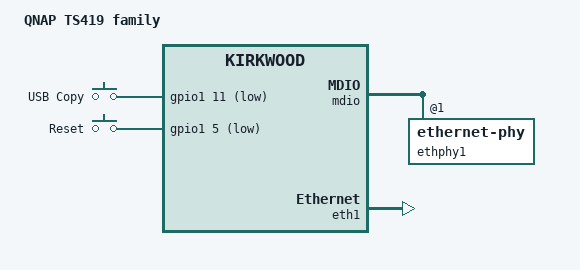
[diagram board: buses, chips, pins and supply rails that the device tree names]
/*
 * Device Tree include file for QNAP TS41X
 *
 * Copyright (C) 2013, Andrew Lunn <andrew@lunn.ch>
 *
 * This program is free software; you can redistribute it and/or
 * modify it under the terms of the GNU General Public License
 * as published by the Free Software Foundation; either version
 * 2 of the License, or (at your option) any later version.
 */

/ {
	model = "QNAP TS419 family";
	compatible = "qnap,ts419", "marvell,kirkwood";

	ocp@f1000000 {
		pinctrl: pinctrl@10000 {
			pinctrl-names = "default";

			pmx_USB_copy_button: pmx-USB-copy-button {
				marvell,pins = "mpp43";
				marvell,function = "gpio";
			};
			pmx_reset_button: pmx-reset-button {
				marvell,pins = "mpp37";
				marvell,function = "gpio";
			};
			/*
			 * JP1 indicates if an LCD module is installed
			 * on the serial port (0), or if the port is used
			 * as a console (1).
			 */
			pmx_jumper_jp1: pmx-jumper_jp1 {
				marvell,pins = "mpp45";
				marvell,function = "gpio";
			};

		};
	};

	gpio_keys {
		compatible = "gpio-keys";
		#address-cells = <1>;
		#size-cells = <0>;
		pinctrl-0 = <&pmx_reset_button &pmx_USB_copy_button>;
		pinctrl-names = "default";

		button@1 {
			label = "USB Copy";
			linux,code = <KEY_COPY>;
			gpios = <&gpio1 11 GPIO_ACTIVE_LOW>;
		};
		button@2 {
			label = "Reset";
			linux,code = <KEY_RESTART>;
			gpios = <&gpio1 5 GPIO_ACTIVE_LOW>;
		};
	};
};

&mdio {
	status = "okay";

	ethphy1: ethernet-phy@1 {
		device_type = "ethernet-phy";
                /* overwrite reg property in board file */
	};
};

&eth1 {
	status = "okay";
	ethernet1-port@0 {
		phy-handle = <&ethphy1>;
	};
};
